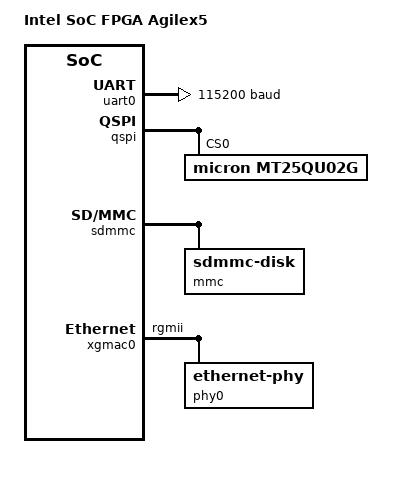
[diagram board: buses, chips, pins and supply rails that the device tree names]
/*
 * Copyright (c) 2023, Intel Corporation.
 *
 * SPDX-License-Identifier: Apache-2.0
 */

/dts-v1/;

#include <intel/intel_socfpga_agilex5.dtsi>

/ {
	model = "Intel SoC FPGA Agilex5";
	compatible = "intel,socfpga-agilex5";
	#address-cells = <1>;
	#size-cells = <1>;

	chosen {
		zephyr,console = &uart0;
		zephyr,shell-uart = &uart0;
		zephyr,sram = &mem0;
	};
};

&uart0 {
	status = "okay";
	current-speed = <115200>;
};

&qspi {
	mt25qu02g@0 {
		compatible = "micron,mt25qu02g";
		reg = <0>;
		size = <DT_SIZE_M(256*8)>; /* in bits */
		sector-size = <65536>;
		subsector-size = <4096>;
		page-size = <256>;
		address-byte = <2>;
		bytes-per-block = <16>;
		status = "okay";
	};
};

&sdmmc {
	mmc {
		/*SD Disk Access */
		compatible = "zephyr,sdmmc-disk";
		status = "okay";
	};
};

&xgmac0 {
	phy-connection-type = "rgmii";
	full-duplex-mode-en;
	num-dma-ch   = <1>;
	num-tx-queues = <1>;
	num-rx-queues = <1>;
	num-tc = <1>;
	dma-ch-rdrl = <128>;
	dma-ch-tdrl = <128>;
	max-speed = <1000>;
	max-frame-size = <9018>;
	jumbo-pkt-en;
	phy0: phy {
		compatible = "ethernet-phy";
		address = <0>;
		fixed-link = "100BASE-T Full-Duplex";
		mdio = <&mdio0>;
	};
};

&mdio0  {
		csr-clock-indx = <1>;
		clock-range-sel;
};
